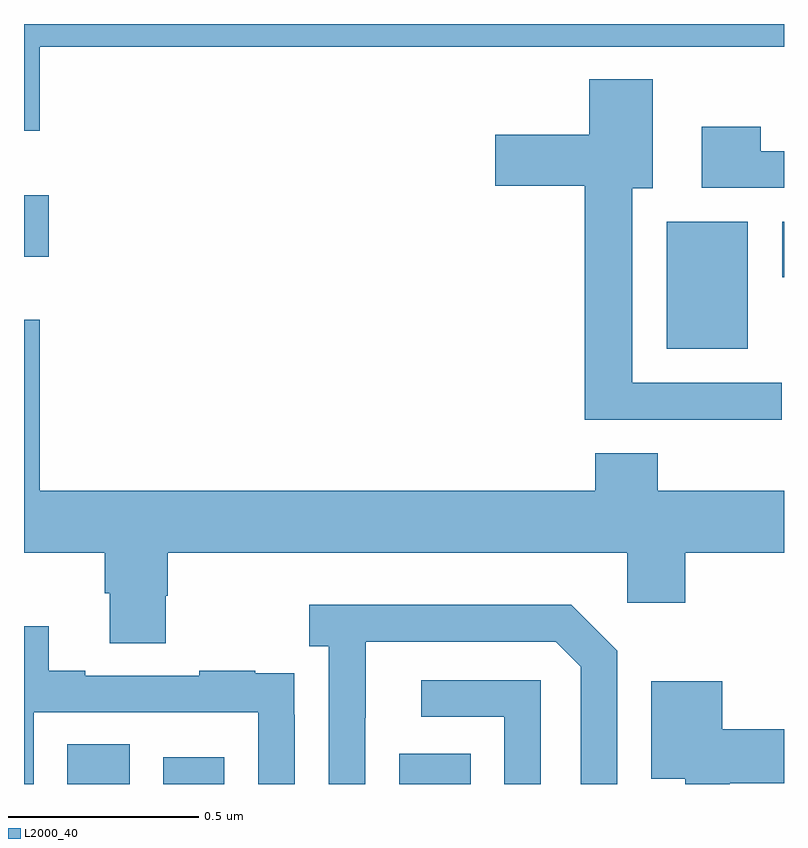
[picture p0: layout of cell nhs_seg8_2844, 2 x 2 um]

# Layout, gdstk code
import gdstk
lib = gdstk.Library(unit=1e-6, precision=1e-09)
def R(c, l, rs):  # rectangles x0, y0, x1, y1
    for r in rs: c.add(gdstk.rectangle(r[:2], r[2:], *l))
def P(c, l, *ps):  # polygons
    for p in ps: c.add(gdstk.Polygon(p, *l))
L2000_40 = (2000, 40)

nhs_seg8_2844 = lib.new_cell('nhs_seg8_2844')
R(nhs_seg8_2844, L2000_40, [(149.114,1107.9,149.278,1108.004), (149.366,1107.9,149.527,1107.97), (149.987,1107.9,150.175,1107.979), (150.692,1109.045,150.904,1109.38), (150.995,1109.234,151,1109.38), (149,1109.288,149.065,1109.449)])
P(nhs_seg8_2844, L2000_40, [(149.041,1109.84),(151,1109.84),(151,1109.9),(149,1109.9),(149,1109.619),(149.041,1109.619)],
  [(150.994,1108.956),(150.601,1108.956),(150.601,1109.468),(150.655,1109.468),(150.655,1109.755),(150.488,1109.755),(150.488,1109.608),(150.24,1109.608),(150.24,1109.474),(150.476,1109.474),(150.476,1108.859),(150.994,1108.859)],
  [(151,1109.565),(150.939,1109.565),(150.939,1109.629),(150.783,1109.629),(150.783,1109.469),(151,1109.469)],
  [(149.373,1108.395),(149.378,1108.395),(149.378,1108.508),(150.588,1108.508),(150.588,1108.377),(150.74,1108.377),(150.74,1108.508),(151,1108.508),(151,1108.672),(150.668,1108.672),(150.668,1108.771),(150.503,1108.771),(150.503,1108.672),(149.041,1108.672),(149.041,1109.122),(149,1109.122),(149,1108.508),(149.213,1108.508),(149.213,1108.402),(149.225,1108.402),(149.225,1108.27),(149.373,1108.27)],
  [(149.898,1108.075),(149.899,1108.075),(149.899,1108.275),(150.399,1108.275),(150.465,1108.209),(150.465,1107.9),(150.561,1107.9),(150.561,1108.251),(150.44,1108.372),(149.751,1108.372),(149.751,1108.262),(149.802,1108.262),(149.802,1107.9),(149.898,1107.9)],
  [(149.025,1108.089),(149.616,1108.089),(149.616,1107.9),(149.712,1107.9),(149.712,1108.082),(149.711,1108.082),(149.711,1108.191),(149.609,1108.191),(149.609,1108.198),(149.461,1108.198),(149.461,1108.185),(149.161,1108.185),(149.161,1108.198),(149.065,1108.198),(149.065,1108.315),(149,1108.315),(149,1107.9),(149.025,1107.9)],
  [(150.36,1108.173),(150.045,1108.173),(150.045,1108.077),(150.264,1108.077),(150.264,1107.9),(150.36,1107.9)],
  [(150.857,1107.902),(151,1107.902),(151,1108.044),(150.838,1108.044),(150.838,1108.171),(150.65,1108.171),(150.65,1107.914),(150.74,1107.914),(150.74,1107.9),(150.857,1107.9)])

lib.write_gds('nhs_seg8_2844.gds')
